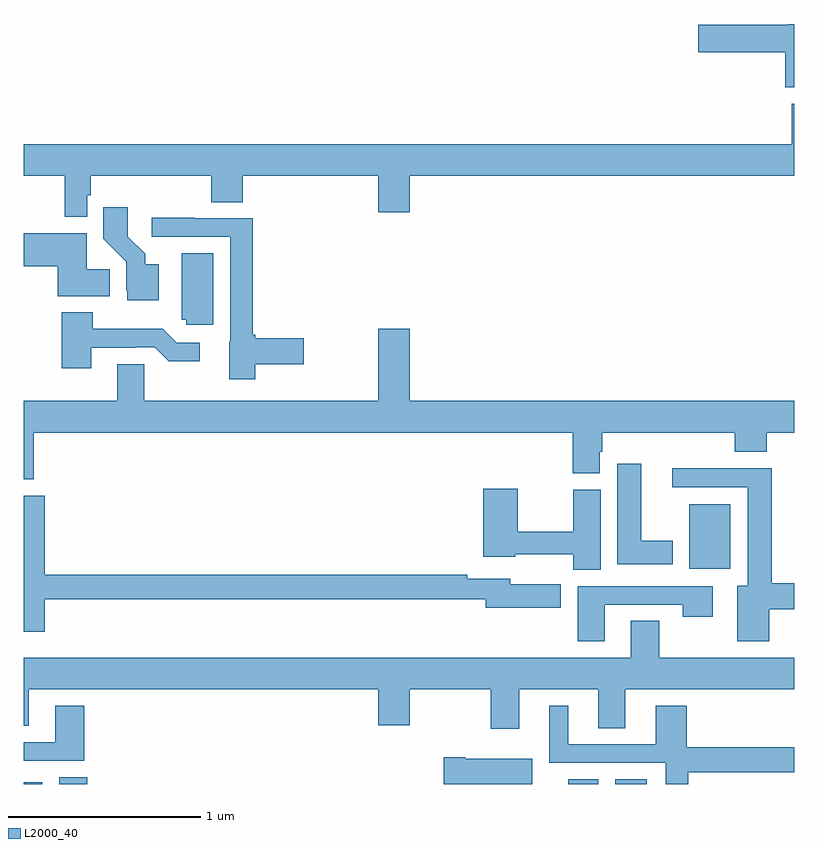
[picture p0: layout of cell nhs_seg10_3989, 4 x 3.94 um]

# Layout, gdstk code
import gdstk
lib = gdstk.Library(unit=1e-6, precision=1e-09)
def R(c, l, rs):  # rectangles x0, y0, x1, y1
    for r in rs: c.add(gdstk.rectangle(r[:2], r[2:], *l))
def P(c, l, *ps):  # polygons
    for p in ps: c.add(gdstk.Polygon(p, *l))
L2000_40 = (2000, 40)

nhs_seg10_3989 = lib.new_cell('nhs_seg10_3989')
R(nhs_seg10_3989, L2000_40, [(331,1290.5,331.096,1290.508), (331.184,1290.5,331.331,1290.536), (333.827,1290.5,333.982,1290.524), (334.07,1290.5,334.234,1290.524), (334.454,1291.616,334.666,1291.951)])
P(nhs_seg10_3989, L2000_40, [(335,1294.444),(334.968,1294.444),(334.968,1294.439),(334.5,1294.439),(334.5,1294.297),(334.952,1294.297),(334.952,1294.115),(335,1294.115)],
  [(331.329,1293.555),(331.349,1293.555),(331.349,1293.656),(331.973,1293.656),(331.973,1293.52),(332.138,1293.52),(332.138,1293.656),(332.84,1293.656),(332.84,1293.468),(333.004,1293.468),(333.004,1293.656),(335,1293.656),(335,1294.03),(334.987,1294.03),(334.987,1293.82),(331,1293.82),(331,1293.656),(331.213,1293.656),(331.213,1293.443),(331.329,1293.443)],
  [(331.702,1293.196),(331.63,1293.196),(331.63,1293.251),(331.54,1293.341),(331.54,1293.493),(331.414,1293.493),(331.414,1293.33),(331.533,1293.211),(331.533,1293.06),(331.538,1293.06),(331.538,1293.011),(331.702,1293.011)],
  [(332.202,1292.678),(332.455,1292.678),(332.455,1292.813),(332.202,1292.813),(332.202,1292.831),(332.189,1292.831),(332.189,1293.435),(331.889,1293.435),(331.889,1293.438),(331.665,1293.438),(331.665,1293.339),(332.073,1293.339),(332.073,1292.796),(332.066,1292.796),(332.066,1292.6),(332.202,1292.6)],
  [(331.448,1293.17),(331.327,1293.17),(331.327,1293.358),(331,1293.358),(331,1293.188),(331.178,1293.188),(331.178,1293.032),(331.448,1293.032)],
  [(331.984,1293.254),(331.82,1293.254),(331.82,1292.91),(331.845,1292.91),(331.845,1292.883),(331.984,1292.883)],
  [(331.351,1292.763),(331.58,1292.763),(331.58,1292.766),(331.68,1292.766),(331.753,1292.693),(331.915,1292.693),(331.915,1292.79),(331.794,1292.79),(331.721,1292.863),(331.359,1292.863),(331.359,1292.947),(331.199,1292.947),(331.199,1292.658),(331.351,1292.658)],
  [(331.052,1292.324),(333.851,1292.324),(333.851,1292.113),(333.991,1292.113),(333.991,1292.223),(334.004,1292.223),(334.004,1292.324),(334.691,1292.324),(334.691,1292.225),(334.856,1292.225),(334.856,1292.324),(335,1292.324),(335,1292.488),(333.004,1292.488),(333.004,1292.863),(332.84,1292.863),(332.84,1292.488),(331.626,1292.488),(331.626,1292.678),(331.487,1292.678),(331.487,1292.488),(331,1292.488),(331,1292.081),(331.052,1292.081)],
  [(334.369,1291.762),(334.204,1291.762),(334.204,1292.161),(334.082,1292.161),(334.082,1291.64),(334.369,1291.64)],
  [(334.87,1291.406),(335,1291.406),(335,1291.541),(334.883,1291.541),(334.883,1292.138),(334.365,1292.138),(334.365,1292.04),(334.757,1292.04),(334.757,1291.528),(334.703,1291.528),(334.703,1291.242),(334.87,1291.242)],
  [(333.994,1292.028),(333.853,1292.028),(333.853,1291.808),(333.564,1291.808),(333.564,1292.032),(333.386,1292.032),(333.386,1291.679),(333.552,1291.679),(333.552,1291.691),(333.853,1291.691),(333.853,1291.612),(333.994,1291.612)],
  [(331.109,1291.458),(333.398,1291.458),(333.398,1291.415),(333.787,1291.415),(333.787,1291.537),(333.526,1291.537),(333.526,1291.566),(333.302,1291.566),(333.302,1291.586),(331.109,1291.586),(331.109,1291.996),(331,1291.996),(331,1291.289),(331.109,1291.289)],
  [(334.015,1291.431),(334.42,1291.431),(334.42,1291.368),(334.576,1291.368),(334.576,1291.527),(333.875,1291.527),(333.875,1291.242),(334.015,1291.242)],
  [(333.571,1290.992),(333.983,1290.992),(333.983,1290.79),(334.123,1290.79),(334.123,1290.992),(335,1290.992),(335,1291.156),(334.299,1291.156),(334.299,1291.346),(334.151,1291.346),(334.151,1291.156),(331,1291.156),(331,1290.802),(331.027,1290.802),(331.027,1290.992),(332.84,1290.992),(332.84,1290.804),(333.004,1290.804),(333.004,1290.992),(333.424,1290.992),(333.424,1290.786),(333.571,1290.786)],
  [(331.316,1290.907),(331.163,1290.907),(331.163,1290.717),(331,1290.717),(331,1290.621),(331.316,1290.621)],
  [(334.448,1290.562),(335,1290.562),(335,1290.691),(334.442,1290.691),(334.442,1290.907),(334.28,1290.907),(334.28,1290.705),(333.826,1290.705),(333.826,1290.907),(333.728,1290.907),(333.728,1290.609),(334.332,1290.609),(334.332,1290.5),(334.448,1290.5)],
  [(333.64,1290.631),(333.292,1290.631),(333.292,1290.639),(333.18,1290.639),(333.18,1290.5),(333.64,1290.5)])

lib.write_gds('nhs_seg10_3989.gds')
